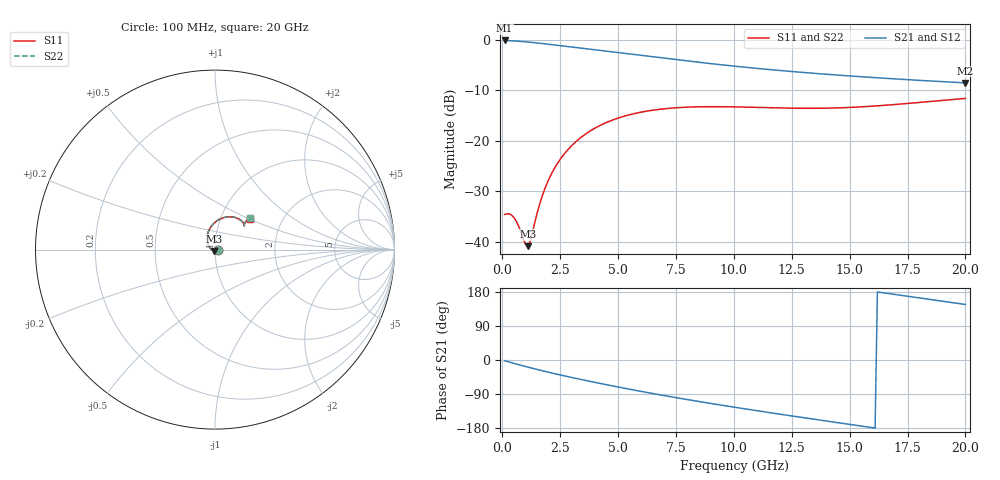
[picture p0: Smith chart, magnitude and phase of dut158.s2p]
! Touchstone file exported from HFSS 2023.1.0
!  File:  D:/Users/fzz/RDL_TSV/temp_RDL_TSV_158_1778753502.aedt
!  Generated:  6:18:55 %x4E0B%x5348  5%x6708 14, 2026
!  Design:  RDL_TSV
!  Project:  temp_RDL_TSV_158_1778753502
!  Setup:  Setup1
!  Solution:  Sweep
! Variables:
!  dtsv = 12.1um
!  hbump = 3um
!  htsv = 55um
!  ldown = 246.83um
!  lrdl = 653.91um
!  p = 40
!  p1 = 41.71um
!  rhole = 10um
!  subl = 3356.13um
!  t = 450um
!  tdown = 4.82um
!  trdl = 2.26um
!  viad = 10um
!  wdown = 26.08um
!  wrdl = 25.4um
!  xbump = 18um
# GHz S MA R 50.000000
! Terminal data exported
! Port[1] = TM1_1_T1
! Port[2] = TM1_4_T1
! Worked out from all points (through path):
!   200 points, 100 MHz to 20 GHz, reference 50 ohm
!   highest |S21| = -0.17 dB at 100 MHz (marker M1); lowest = -8.6 dB at 20 GHz (marker M2)
!   group delay of S21, straight-line fit = 28.3 ps
!   lowest |S11| = -40.8 dB at 1.1 GHz (marker M3), VSWR 1.02, Z = 49.7 - j0.845 ohm
!   |S11| at or under -10 dB: start of sweep to end of sweep
!   |S22| runs from -40.8 to -11.6 dB; largest |S21 - S12| = 1e-14
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0.1  0.01873 -1.9  0.9808 -1.8  0.9808 -1.8  0.01873 -1.9
! Gamma 0 0 0 0
! Port Impedance 50 0 50 0
0.3  0.01894 -9.7  0.9766 -5.4  0.9766 -5.4  0.01893 -9.7
0.5  0.0175 -22.2  0.9707 -8.8  0.9707 -8.8  0.01748 -22.3
0.7  0.01446 -39.1  0.9637 -12.2  0.9637 -12.2  0.01443 -39.2
1  0.009472 -85.7  0.9514 -17.1  0.9514 -17.1  0.009447 -86.0
1.1  0.009091 -110.7  0.9468 -18.7  0.9468 -18.7  0.009091 -111.2
1.2  0.01008 -135.8  0.942 -20.3  0.942 -20.3  0.01012 -136.3
1.5  0.0191 178.6  0.9268 -24.9  0.9268 -24.9  0.01922 178.4
1.7  0.0274 163.5  0.9161 -28.0  0.9161 -28.0  0.02756 163.4
2.1  0.04597 144.5  0.8941 -33.8  0.8941 -33.8  0.04622 144.5
2.4  0.0606 134.3  0.8776 -38.0  0.8776 -38.0  0.06091 134.3
2.7  0.07527 125.7  0.8611 -42.2  0.8611 -42.2  0.07564 125.8
3.5  0.1125 107.5  0.8186 -52.7  0.8186 -52.7  0.113 107.5
4.2  0.1409 94.8  0.7829 -61.6  0.7829 -61.6  0.1416 94.9
4.9  0.1646 84.2  0.7485 -70.1  0.7485 -70.1  0.1654 84.3
6.8  0.2048 62.6  0.6623 -91.8  0.6623 -91.8  0.2059 62.7
8.4  0.2165 50.5  0.5996 -108.6  0.5996 -108.6  0.2178 50.7
10.1  0.2161 42.7  0.5442 -125.3  0.5442 -125.3  0.2174 42.9
11.7  0.2116 39.4  0.5018 -140.3  0.5018 -140.3  0.213 39.6
13.4  0.2093 39.1  0.4654 -155.7  0.4654 -155.7  0.2107 39.3
16.7  0.2258 41.9  0.4123 175.1  0.4123 175.1  0.2273 42.2
20  0.2623 41.3  0.3734 146.5  0.3734 146.5  0.2641 41.5
